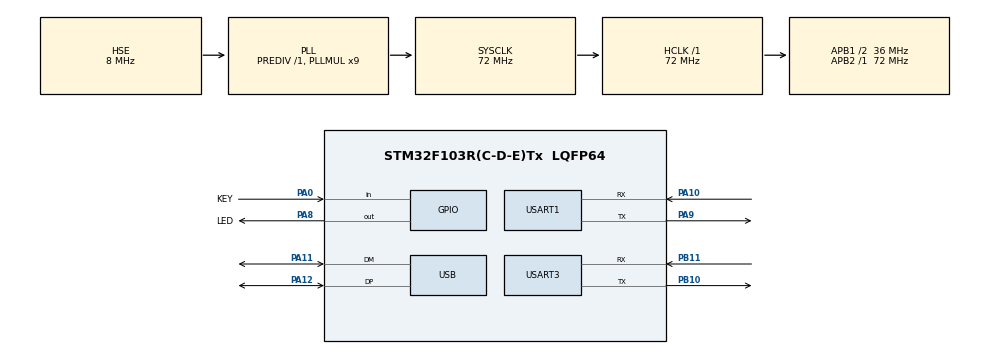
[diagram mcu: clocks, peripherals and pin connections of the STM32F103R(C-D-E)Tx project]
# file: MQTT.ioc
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Dma.Request0=USART3_TX
Dma.Request1=USART1_TX
Dma.USART1_TX.1.Direction=DMA_MEMORY_TO_PERIPH
Dma.USART1_TX.1.Instance=DMA1_Channel4
Dma.USART1_TX.1.MemDataAlignment=DMA_MDATAALIGN_BYTE
Dma.USART1_TX.1.MemInc=DMA_MINC_ENABLE
Dma.USART1_TX.1.Mode=DMA_NORMAL
Dma.USART1_TX.1.PeriphDataAlignment=DMA_PDATAALIGN_BYTE
Dma.USART1_TX.1.PeriphInc=DMA_PINC_DISABLE
Dma.USART1_TX.1.Priority=DMA_PRIORITY_LOW
Dma.USART3_TX.0.Direction=DMA_MEMORY_TO_PERIPH
Dma.USART3_TX.0.Instance=DMA1_Channel2
Dma.USART3_TX.0.MemDataAlignment=DMA_MDATAALIGN_BYTE
Dma.USART3_TX.0.MemInc=DMA_MINC_ENABLE
Dma.USART3_TX.0.Mode=DMA_NORMAL
Dma.USART3_TX.0.PeriphDataAlignment=DMA_PDATAALIGN_BYTE
Dma.USART3_TX.0.PeriphInc=DMA_PINC_DISABLE
Dma.USART3_TX.0.Priority=DMA_PRIORITY_LOW
Mcu.Family=STM32F1
Mcu.Name=STM32F103R(C-D-E)Tx
Mcu.Package=LQFP64
NVIC.DMA1_Channel2_IRQn=true\:0\:0\:false\:false\:true\:false\:true\:true
NVIC.DMA1_Channel4_IRQn=true\:0\:0\:false\:false\:true\:false\:true\:true
NVIC.PriorityGroup=NVIC_PRIORITYGROUP_4
NVIC.TIM7_IRQn=true\:15\:0\:false\:false\:true\:false\:true\:true
NVIC.TimeBase=TIM7_IRQn
NVIC.TimeBaseIP=TIM7
NVIC.USART1_IRQn=true\:0\:0\:false\:false\:true\:false\:true\:true
NVIC.USART3_IRQn=true\:0\:0\:false\:false\:true\:false\:true\:true
NVIC.USB_LP_CAN1_RX0_IRQn=true\:0\:0\:false\:false\:true\:false\:true\:true
PA0-WKUP.GPIO_Label=KEY
PA0-WKUP.GPIO_PuPd=GPIO_PULLUP
PA0-WKUP.Signal=GPIO_Input
PA10.Mode=Asynchronous
PA10.Signal=USART1_RX
PA11.Mode=Device
PA11.Signal=USB_DM
PA12.Mode=Device
PA12.Signal=USB_DP
PA13.Mode=Serial_Wire
PA13.Signal=SYS_JTMS-SWDIO
PA14.Mode=Serial_Wire
PA14.Signal=SYS_JTCK-SWCLK
PA8.GPIO_Label=LED
PA8.Signal=GPIO_Output
PA9.Mode=Asynchronous
PA9.Signal=USART1_TX
PB10.Mode=Asynchronous
PB10.Signal=USART3_TX
PB11.Mode=Asynchronous
PB11.Signal=USART3_RX
PC14-OSC32_IN.Mode=LSE-External-Oscillator
PC14-OSC32_IN.Signal=RCC_OSC32_IN
PC15-OSC32_OUT.Mode=LSE-External-Oscillator
PC15-OSC32_OUT.Signal=RCC_OSC32_OUT
PD0-OSC_IN.Mode=HSE-External-Oscillator
PD0-OSC_IN.Signal=RCC_OSC_IN
PD1-OSC_OUT.Mode=HSE-External-Oscillator
PD1-OSC_OUT.Signal=RCC_OSC_OUT
ProjectManager.HeapSize=0x200
ProjectManager.StackSize=0x400
ProjectManager.TargetToolchain=MDK-ARM V5.32
RCC.ADCPresc=RCC_ADCPCLK2_DIV6
RCC.AHBFreq_Value=72000000
RCC.APB1CLKDivider=RCC_HCLK_DIV2
RCC.APB1Freq_Value=36000000
RCC.APB1TimFreq_Value=72000000
RCC.APB2Freq_Value=72000000
RCC.APB2TimFreq_Value=72000000
RCC.HCLKFreq_Value=72000000
RCC.PLLMUL=RCC_PLL_MUL9
RCC.PLLSourceVirtual=RCC_PLLSOURCE_HSE
RCC.SYSCLKFreq_VALUE=72000000
RCC.SYSCLKSource=RCC_SYSCLKSOURCE_PLLCLK
RCC.USBFreq_Value=48000000
RCC.USBPrescaler=RCC_USBCLKSOURCE_PLL_DIV1_5
USART1.VirtualMode=VM_ASYNC
USART3.VirtualMode=VM_ASYNC
USB_DEVICE.CLASS_NAME_FS=CDC
USB_DEVICE.VirtualMode=Cdc
USB_DEVICE.VirtualModeFS=Cdc_FS
VP_SYS_VS_tim7.Mode=TIM7
VP_USB_DEVICE_VS_USB_DEVICE_CDC_FS.Mode=CDC_FS
board=custom

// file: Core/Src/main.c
/* USER CODE BEGIN Header */
/**
  ******************************************************************************
  * @file           : main.c
  * @brief          : Main program body
  ******************************************************************************
  * @attention
  *
  * Copyright (c) 2025 STMicroelectronics.
  * All rights reserved.
  *
  * This software is licensed under terms that can be found in the LICENSE file
  * in the root directory of this software component.
  * If no LICENSE file comes with this software, it is provided AS-IS.
  *
  ******************************************************************************
  */
/* USER CODE END Header */
#include "main.h"
#include "dma.h"
#include "usart.h"
#include "usb_device.h"
#include "gpio.h"

/* USER CODE BEGIN Includes */
#include "ESP01s.h"
#include "stm32f1xx_hal.h"
/* USER CODE END Includes */

void SystemClock_Config(void);

/* USER CODE BEGIN 0 */
int fputc(int ch, FILE *f)
{
	while((USART1->SR&0X40)==0);
	USART1->DR = (uint8_t) ch;//此处使用的USART作为输出
	return ch;
}
/* USER CODE END 0 */

int main(void)
{

  /* MCU Configuration--------------------------------------------------------*/

  /* Reset of all peripherals, Initializes the Flash interface and the Systick. */
  HAL_Init();

  /* Configure the system clock */
  SystemClock_Config();

  /* Initialize all configured peripherals */
  MX_GPIO_Init();
  MX_DMA_Init();
  MX_USART1_UART_Init();
  MX_USART3_UART_Init();
  MX_USB_DEVICE_Init();
  /* USER CODE BEGIN 2 */
  printf("System Init OK\r\n");
    // 初始化ESP01s
    if(!ESP01S_Init()) {
      printf("ESP01S initialization failed!\n");
      while(1);
  }
  printf("ESP01S initialization OK\n");

    // 订阅主题
    if(!MQTT_Subscribe("stm32/commands", 0)) {
        printf("Subscription failed!\n");
    }
		printf("Subscription Ok!\r\n");
  /* USER CODE END 2 */

  /* Infinite loop */
  /* USER CODE BEGIN WHILE */
  while (1)
  {
        // 处理接收到的数据
        MQTT_ProcessReceivedData();

        // 发布测试消息
        static uint32_t last_publish = 0;
        if(HAL_GetTick() - last_publish > 500) {
            char payload[32];
            snprintf(payload, sizeof(payload), "Hello from STM32! Tick: %u", HAL_GetTick());
            MQTT_Publish("stm32/data", payload, 0, false);
            last_publish = HAL_GetTick();
        }

        HAL_Delay(100);
    /* USER CODE END WHILE */

  }
}

void SystemClock_Config(void)
{
  RCC_OscInitTypeDef RCC_OscInitStruct = {0};
  RCC_ClkInitTypeDef RCC_ClkInitStruct = {0};
  RCC_PeriphCLKInitTypeDef PeriphClkInit = {0};

  /** Initializes the RCC Oscillators according to the specified parameters
  * in the RCC_OscInitTypeDef structure.
  */
  RCC_OscInitStruct.OscillatorType = RCC_OSCILLATORTYPE_HSE;
  RCC_OscInitStruct.HSEState = RCC_HSE_ON;
  RCC_OscInitStruct.HSEPredivValue = RCC_HSE_PREDIV_DIV1;
  RCC_OscInitStruct.HSIState = RCC_HSI_ON;
  RCC_OscInitStruct.PLL.PLLState = RCC_PLL_ON;
  RCC_OscInitStruct.PLL.PLLSource = RCC_PLLSOURCE_HSE;
  RCC_OscInitStruct.PLL.PLLMUL = RCC_PLL_MUL9;
  if (HAL_RCC_OscConfig(&RCC_OscInitStruct) != HAL_OK)
  {
    Error_Handler();
  }

  /** Initializes the CPU, AHB and APB buses clocks
  */
  RCC_ClkInitStruct.ClockType = RCC_CLOCKTYPE_HCLK|RCC_CLOCKTYPE_SYSCLK
                              |RCC_CLOCKTYPE_PCLK1|RCC_CLOCKTYPE_PCLK2;
  RCC_ClkInitStruct.SYSCLKSource = RCC_SYSCLKSOURCE_PLLCLK;
  RCC_ClkInitStruct.AHBCLKDivider = RCC_SYSCLK_DIV1;
  RCC_ClkInitStruct.APB1CLKDivider = RCC_HCLK_DIV2;
  RCC_ClkInitStruct.APB2CLKDivider = RCC_HCLK_DIV1;

  if (HAL_RCC_ClockConfig(&RCC_ClkInitStruct, FLASH_LATENCY_2) != HAL_OK)
  {
    Error_Handler();
  }
  PeriphClkInit.PeriphClockSelection = RCC_PERIPHCLK_USB;
  PeriphClkInit.UsbClockSelection = RCC_USBCLKSOURCE_PLL_DIV1_5;
  if (HAL_RCCEx_PeriphCLKConfig(&PeriphClkInit) != HAL_OK)
  {
    Error_Handler();
  }
}

void HAL_TIM_PeriodElapsedCallback(TIM_HandleTypeDef *htim)
{
  if (htim->Instance == TIM7) {
    HAL_IncTick();
  }
}

void Error_Handler(void)
{
  __disable_irq();
  while (1)
  {
  }
}
